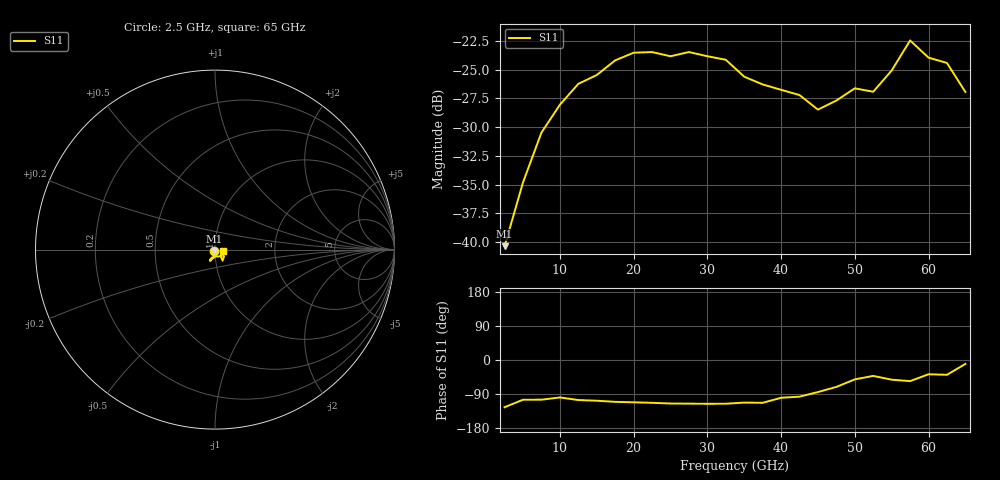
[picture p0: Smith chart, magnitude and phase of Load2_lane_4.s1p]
! File created by SignalIntegrity v1.5.1: Signal and Power Integrity Tools
! https://github.com/Nubis-Communications/SignalIntegrity
# MHz S MA R 50.0
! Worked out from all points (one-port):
!   26 points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, 2.5 GHz to 65 GHz, reference 50 ohm
!   lowest |S11| = -40.4 dB at 2.5 GHz (marker M1), VSWR 1.02, Z = 49.5 - j0.782 ohm
!   |S11| at or under -10 dB: start of sweep to end of sweep
2500  0.009595 -124.6
5000  0.01819 -104.9
7500  0.02996 -104.7
10000  0.03956 -98.8
12500  0.04878 -105.6
15000  0.05328 -107.5
17500  0.06171 -110.4
20000  0.06663 -111.7
22500  0.06706 -113.0
25000  0.06431 -114.8
27500  0.06707 -115.2
30000  0.0643 -115.6
32500  0.06208 -115.4
35000  0.0524 -112.4
37500  0.04849 -112.9
40000  0.04594 -99.7
42500  0.04359 -96.8
45000  0.03767 -84.6
47500  0.04126 -71.0
50000  0.04662 -51.1
52500  0.04507 -42.0
55000  0.05575 -52.0
57500  0.07532 -55.7
60000  0.06341 -37.6
62500  0.06012 -39.1
65000  0.04495 -10.3
